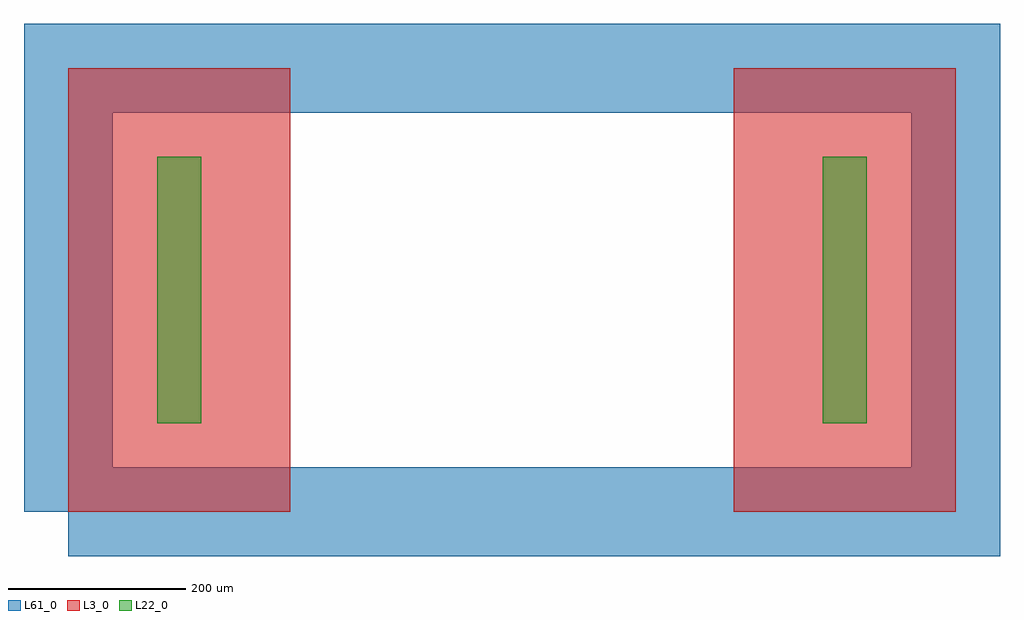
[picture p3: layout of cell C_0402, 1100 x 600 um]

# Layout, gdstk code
import gdstk
lib = gdstk.Library(unit=1e-6, precision=1e-09)
def R(c, l, rs):  # rectangles x0, y0, x1, y1
    for r in rs: c.add(gdstk.rectangle(r[:2], r[2:], *l))
L3_0 = (3, 0)
L22_0 = (22, 0)
L61_0 = (61, 0)

c_0402 = lib.new_cell('C_0402')
R(c_0402, L3_0, [(-500,-250,-250,250), (250,-250,500,250)])
R(c_0402, L22_0, [(-400,-150,-350,150), (350,-150,400,150)])
c_0402.add(gdstk.FlexPath([(-500,-250),(500,-250),(500,250),(-500,250),(-500,-250)], 100, ends="flush", simple_path=True, layer=61, datatype=0))  # L61_0

lib.write_gds('C_0402.gds')
